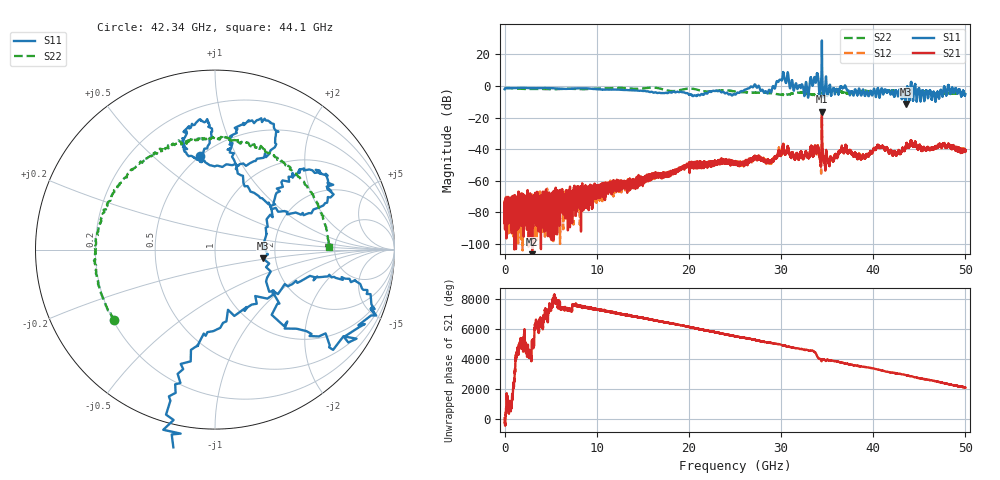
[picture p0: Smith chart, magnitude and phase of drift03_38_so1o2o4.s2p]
!Created with skrf (http://scikit-rf.org).
# Hz S RI R 50.0
!freq ReS11 ImS11 ReS21 ImS21 ReS12 ImS12 ReS22 ImS22
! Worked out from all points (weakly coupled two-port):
!   10000 points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, 5.3 MHz to 50 GHz, reference 50 ohm
!   highest |S21| = -16.30 dB at 34.43 GHz (marker M1); lowest = -118.2 dB at 2.995 GHz (marker M2)
!   lowest |S11| = -11.4 dB at 43.53 GHz (marker M3), VSWR 1.74, Z = 85.6 - j8.91 ohm
!   |S11| at or under -10 dB: 43.4915 GHz to 43.54248 GHz (50.98 MHz wide, 0.117 % of centre); 44.70991 GHz to 44.71014 GHz (229.4 kHz wide, 0.000513 % of centre); 46.74957 GHz to 46.75114 GHz (1.571 MHz wide, 0.00336 % of centre)
!   |S22| runs from -5.8 to -1.1 dB; largest |S21 - S12| = 0.048
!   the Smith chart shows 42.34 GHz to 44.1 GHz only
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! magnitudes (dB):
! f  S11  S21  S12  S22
! 5.3 MHz  -2.1  -80.5  -79.0  -1.3
! 2.995 GHz  -1.4  -118.2  -73.3  -2.0
! 8.34 GHz  -1.5  -69.5  -69.9  -2.1
! 16.67 GHz  -4.4  -57.6  -56.3  -1.5
! 20.22 GHz  -5.3  -52.0  -49.9  -1.7
! 25.01 GHz  -5.5  -49.0  -49.6  -3.5
! 27.02 GHz  -0.3  -45.9  -45.5  -4.3
! 28.72 GHz  -2.5  -48.7  -49.1  -4.5
! 30.14 GHz  4.4  -40.9  -40.5  -5.7
! 32.74 GHz  2.0  -42.3  -42.0  -4.6
! 33.34 GHz  2.6  -39.7  -40.2  -5.4
! 33.82 GHz  4.0  -41.9  -41.9  -5.7
! 34.43 GHz  28.7  -16.3  -19.1  -4.6
! 35.3 GHz  0.6  -47.7  -47.3  -3.4
! 36.85 GHz  -0.6  -41.1  -41.5  -4.3
! 38.86 GHz  -2.5  -44.5  -43.9  -3.2
! 40.63 GHz  -5.9  -38.4  -38.5  -4.0
! 41.67 GHz  -3.0  -42.2  -42.5  -3.3
! 43.53 GHz  -11.4  -39.3  -38.6  -4.3
! 46.94 GHz  -3.9  -39.4  -38.0  -4.8
! 48.32 GHz  -4.5  -38.2  -38.9  -4.6
! 50 GHz  -5.2  -40.6  -40.9  -4.5
